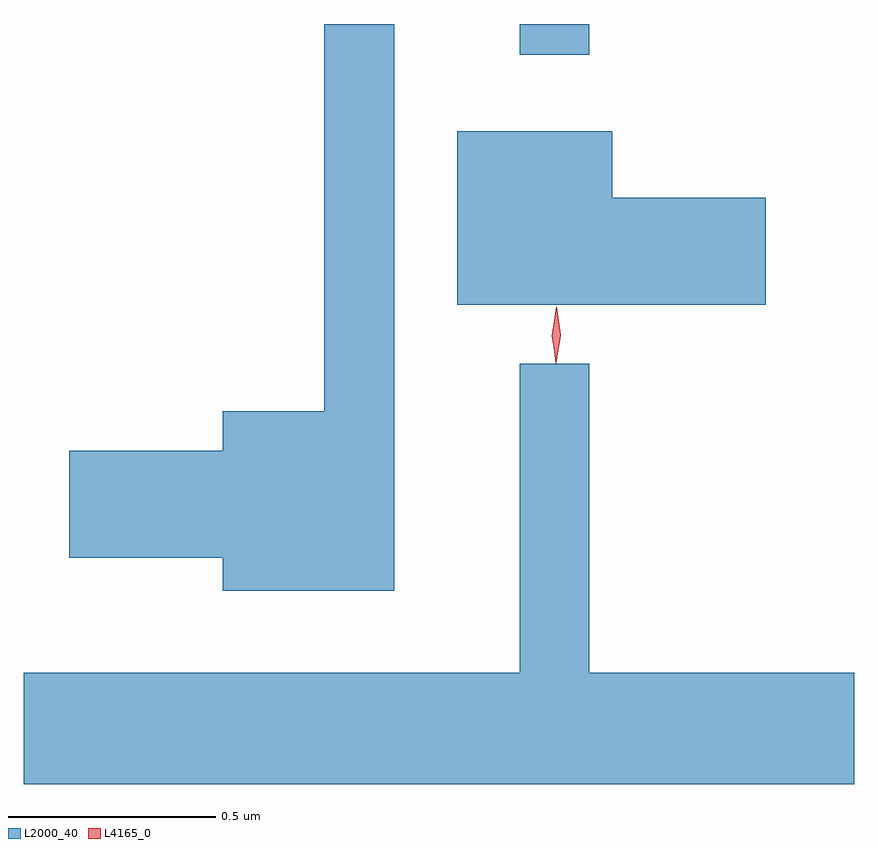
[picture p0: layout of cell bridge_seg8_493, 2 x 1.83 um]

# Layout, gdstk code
import gdstk
lib = gdstk.Library(unit=1e-6, precision=1e-09)
def R(c, l, rs):  # rectangles x0, y0, x1, y1
    for r in rs: c.add(gdstk.rectangle(r[:2], r[2:], *l))
def P(c, l, *ps):  # polygons
    for p in ps: c.add(gdstk.Polygon(p, *l))
L2000_40 = (2000, 40)
L4165_0 = (4165, 0)

bridge_seg8_493 = lib.new_cell('bridge_seg8_493')
R(bridge_seg8_493, L2000_40, [(457.251,1889.233,457.419,1889.307)])
P(bridge_seg8_493, L2000_40, [(456.949,1889.307),(456.781,1889.307),(456.781,1888.374),(456.536,1888.374),(456.536,1888.279),(456.166,1888.279),(456.166,1888.021),(456.536,1888.021),(456.536,1887.941),(456.949,1887.941)],
  [(457.844,1888.889),(457.474,1888.889),(457.474,1889.049),(457.101,1889.049),(457.101,1888.631),(457.844,1888.631)],
  [(457.251,1888.488),(457.251,1887.744),(456.057,1887.744),(456.057,1887.476),(458.057,1887.476),(458.057,1887.744),(457.419,1887.744),(457.419,1888.488)])
P(bridge_seg8_493, L4165_0, [(457.339,1888.493),(457.339,1888.493),(457.329,1888.556),(457.339,1888.619),(457.339,1888.62),(457.34,1888.619),(457.35,1888.556),(457.34,1888.493)],
  [(457.338,1888.49),(457.33,1888.558),(457.34,1888.626),(457.341,1888.626),(457.341,1888.626),(457.35,1888.558),(457.339,1888.49),(457.339,1888.49)])

lib.write_gds('bridge_seg8_493.gds')
